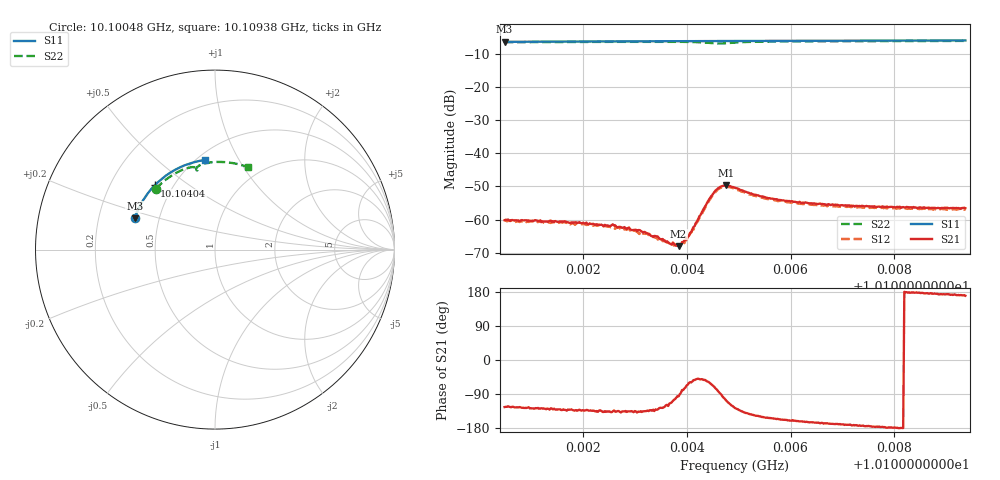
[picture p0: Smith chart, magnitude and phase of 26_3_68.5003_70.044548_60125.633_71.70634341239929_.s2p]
#  HZ  S  RI  R  50.00
! Rohde & Schwarz Vector Network Analyzer
! Rohde-Schwarz,ZNB20-2Port,1311601062101988,3.16
! Created: UTC 3/20/2024, 5:04:53 PM
! freq[Hz]  re:S11  im:S11  re:S21  im:S21  re:S12  im:S12  re:S22  im:S22
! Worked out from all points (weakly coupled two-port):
!   401 points, 10.10048 GHz to 10.10938 GHz, reference 50 ohm
!   highest |S21| = -49.72 dB at 10.10475 GHz (marker M1); lowest = -68.0 dB at 10.10384 GHz (marker M2)
!   lowest |S11| = -6.4 dB at 10.10048 GHz (marker M3), VSWR 2.85, Z = 18.1 + j8.15 ohm
!   |S11| at or under -10 dB: nowhere
!   |S22| runs from -6.9 to -6.1 dB; largest |S21 - S12| = 0.00034
!   S11 on the Smith chart (normalised r, x): 10.10048 GHz: 0.36, +0.16; 10.10404 GHz: 0.40, +0.37; 10.10938 GHz: 0.55, +0.73
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1.0100476e10  -0.4476 0.1733  -0.00055 -0.000811  -0.000428 -0.000845  -0.33 0.3383
1.0101589e10  -0.4221 0.2361  -0.000624 -0.000695  -0.000551 -0.000712  -0.2771 0.3871
1.0101967e10  -0.4114 0.2566  -0.0006 -0.000638  -0.000521 -0.000674  -0.2574 0.4018
1.010259e10  -0.392 0.2889  -0.000554 -0.000592  -0.000496 -0.000557  -0.2228 0.4237
1.0102902e10  -0.381 0.3045  -0.000511 -0.0005  -0.000457 -0.000509  -0.2047 0.4336
1.0103102e10  -0.3737 0.3143  -0.000484 -0.000478  -0.000423 -0.000504  -0.1926 0.4395
1.0103258e10  -0.368 0.3216  -0.000432 -0.000435  -0.00037 -0.000454  -0.183 0.4439
1.0103458e10  -0.3602 0.3312  -0.000321 -0.000415  -0.000279 -0.000432  -0.17 0.449
1.0103659e10  -0.3523 0.3404  -0.000185 -0.000396  -0.00017 -0.000408  -0.1566 0.4537
1.0103837e10  -0.3451 0.3483  -4.24e-05 -0.000398  2.56e-05 -0.000398  -0.1441 0.4571
1.0103903e10  -0.3424 0.3512  8.44e-05 -0.00045  9.09e-05 -0.000418  -0.1393 0.4581
1.0104037e10  -0.3368 0.3573  0.000279 -0.000495  0.000287 -0.000464  -0.1289 0.4595
1.0104393e10  -0.3213 0.3722  0.001 -0.00153  0.00109 -0.00137  -0.1012 0.4532
1.0104504e10  -0.3164 0.3768  0.000916 -0.00228  0.00108 -0.00211  -0.0969 0.4467
1.0104615e10  -0.3113 0.3813  0.000275 -0.00302  0.000516 -0.00287  -0.0985 0.4414
1.0104749e10  -0.3056 0.3866  -0.000872 -0.00315  -0.000579 -0.00308  -0.1038 0.4442
1.0104927e10  -0.2972 0.3936  -0.00181 -0.00241  -0.0015 -0.00247  -0.1013 0.4565
1.0105238e10  -0.2826 0.4052  -0.002 -0.00147  -0.0018 -0.00157  -0.082 0.4716
1.0105572e10  -0.2663 0.4174  -0.00187 -0.000952  -0.00173 -0.00111  -0.0588 0.4796
1.0106418e10  -0.2227 0.4442  -0.00168 -0.000473  -0.00156 -0.000617  -0.00187 0.4879
1.0107909e10  -0.1401 0.4799  -0.00154 -5.88e-05  -0.00145 -0.000188  0.0944 0.4827
1.0109377e10  -0.0535 0.4996  -0.00146 0.000266  -0.00143 9.5e-05  0.1851 0.4589
